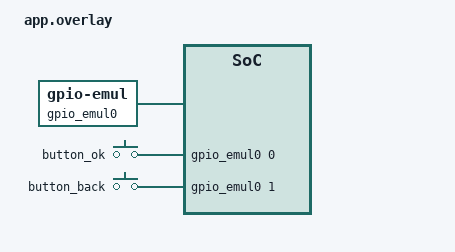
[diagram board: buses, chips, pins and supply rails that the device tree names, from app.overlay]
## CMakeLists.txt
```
cmake_minimum_required(VERSION 3.20.0)
find_package(Zephyr REQUIRED HINTS $ENV{ZEPHYR_BASE})
project(input_keys)
# app.overlay: two gpio-keys buttons on an emulated GPIO controller
target_sources(app PRIVATE src/keys.c src/test_keys.c)
```

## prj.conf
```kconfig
CONFIG_ZTEST=y
CONFIG_GPIO=y
CONFIG_GPIO_EMUL=y
CONFIG_INPUT=y
# events are queued and delivered by the input thread (the default; INPUT_MODE_SYNCHRONOUS calls the
# callbacks in the reporting context instead)
CONFIG_INPUT_MODE_THREAD=y
```

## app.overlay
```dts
/* Buttons as gpio-keys (Zephyr's input driver: interrupt + debounce -> input events) on an emulated
 * GPIO controller, so a test can "press" them. On a board use its real GPIO: BlackPill KEY = PA0
 * (<&gpioa 0 (GPIO_ACTIVE_LOW | GPIO_PULL_UP)>).
 */
#include <zephyr/dt-bindings/gpio/gpio.h>
#include <zephyr/dt-bindings/input/input-event-codes.h>

/ {
	gpio_emul0: gpio-emul {
		compatible = "zephyr,gpio-emul";
		gpio-controller;
		#gpio-cells = <2>;
		ngpios = <8>;
		rising-edge;
		falling-edge;
		high-level;
		low-level;
		status = "okay";
	};

	buttons: buttons {
		compatible = "gpio-keys";
		debounce-interval-ms = <10>;

		button_ok: button-ok {
			gpios = <&gpio_emul0 0 GPIO_ACTIVE_HIGH>;
			zephyr,code = <INPUT_KEY_ENTER>;
		};
		button_back: button-back {
			gpios = <&gpio_emul0 1 GPIO_ACTIVE_HIGH>;
			zephyr,code = <INPUT_KEY_BACK>;
		};
	};
};
```

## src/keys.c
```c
#include <zephyr/input/input.h>
#include "keys.h"

K_MSGQ_DEFINE(key_q, sizeof(struct key_log), 16, 4);
atomic_t menu_depth;

/* NULL device: called for events of every input device */
static void on_input(struct input_event *evt, void *user_data)
{
	struct key_log k = {.code = evt->code, .value = evt->value, .dev = evt->dev};

	ARG_UNUSED(user_data);
	if (evt->type != INPUT_EV_KEY) {
		return;
	}
	if (evt->value == 1 && evt->code == INPUT_KEY_ENTER) {
		atomic_inc(&menu_depth);
	} else if (evt->value == 1 && evt->code == INPUT_KEY_BACK && atomic_get(&menu_depth) > 0) {
		atomic_dec(&menu_depth);
	}
	/* last: a reader woken by the queue sees menu_depth already updated */
	k_msgq_put(&key_q, &k, K_NO_WAIT);
}
INPUT_CALLBACK_DEFINE(NULL, on_input, NULL);
```

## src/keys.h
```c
#ifndef KEYS_H
#define KEYS_H
#include <zephyr/kernel.h>

/* The app's view of the keys: a menu cursor that moves on ENTER (select) / BACK presses, fed by
 * input events from any device (the gpio-keys buttons or software events).
 */
struct key_log {
	uint16_t code;
	int32_t value;
	const struct device *dev;
};

extern struct k_msgq key_q;   /* every key event, in order */
extern atomic_t menu_depth;   /* +1 on ENTER press, -1 on BACK press, never below 0 */

#endif
```

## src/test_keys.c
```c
#include <zephyr/ztest.h>
#include <zephyr/drivers/gpio.h>
#include <zephyr/drivers/gpio/gpio_emul.h>
#include <zephyr/input/input.h>
#include "keys.h"

static const struct device *keys_dev = DEVICE_DT_GET(DT_NODELABEL(buttons));
static const struct gpio_dt_spec ok = GPIO_DT_SPEC_GET(DT_NODELABEL(button_ok), gpios);
static const struct gpio_dt_spec back = GPIO_DT_SPEC_GET(DT_NODELABEL(button_back), gpios);

static void before(void *f)
{
	ARG_UNUSED(f);
	gpio_emul_input_set_dt(&ok, 0);
	gpio_emul_input_set_dt(&back, 0);
	k_msleep(30);
	k_msgq_purge(&key_q);
	atomic_clear(&menu_depth);
}

ZTEST_SUITE(input_keys, NULL, NULL, before, NULL, NULL);

static void click(const struct gpio_dt_spec *b)
{
	gpio_emul_input_set_dt(b, 1);
	k_msleep(30); /* > debounce-interval-ms */
	gpio_emul_input_set_dt(b, 0);
	k_msleep(30);
}

ZTEST(input_keys, test_driver_ready)
{
	zassert_true(device_is_ready(keys_dev));
}

ZTEST(input_keys, test_press_release_events)
{
	struct key_log k;

	click(&ok);
	zassert_ok(k_msgq_get(&key_q, &k, K_MSEC(100)));
	zassert_equal(k.code, INPUT_KEY_ENTER);
	zassert_equal(k.value, 1, "press");
	zassert_equal_ptr(k.dev, keys_dev);
	zassert_ok(k_msgq_get(&key_q, &k, K_MSEC(100)));
	zassert_equal(k.value, 0, "release");
}

ZTEST(input_keys, test_bounce_is_filtered)
{
	struct key_log k;

	for (int i = 0; i < 5; i++) { /* edges 1 ms apart: inside the 10 ms debounce window */
		gpio_emul_input_set_dt(&back, i & 1 ? 0 : 1);
		k_busy_wait(1000); /* not k_msleep(1): with 100 ticks/s that sleeps a whole 10 ms tick */
	}
	k_msleep(40); /* ends pressed (last write was 1) */
	zassert_ok(k_msgq_get(&key_q, &k, K_MSEC(100)));
	zassert_equal(k.code, INPUT_KEY_BACK);
	zassert_equal(k.value, 1);
	zassert_equal(k_msgq_num_used_get(&key_q), 0, "one event for a bouncing press");
}

ZTEST(input_keys, test_menu_logic)
{
	click(&ok);
	click(&ok);
	click(&back);
	zassert_equal(atomic_get(&menu_depth), 1);
	click(&back);
	click(&back); /* already at the top */
	zassert_equal(atomic_get(&menu_depth), 0);
}

ZTEST(input_keys, test_software_event)
{
	struct key_log k;

	/* any code can report events, e.g. a touch or a remote; dev NULL = no device */
	zassert_ok(input_report_key(NULL, INPUT_KEY_ENTER, 1, true, K_FOREVER));
	zassert_ok(k_msgq_get(&key_q, &k, K_MSEC(100)));
	zassert_is_null(k.dev);
	zassert_equal(atomic_get(&menu_depth), 1);
}
```
